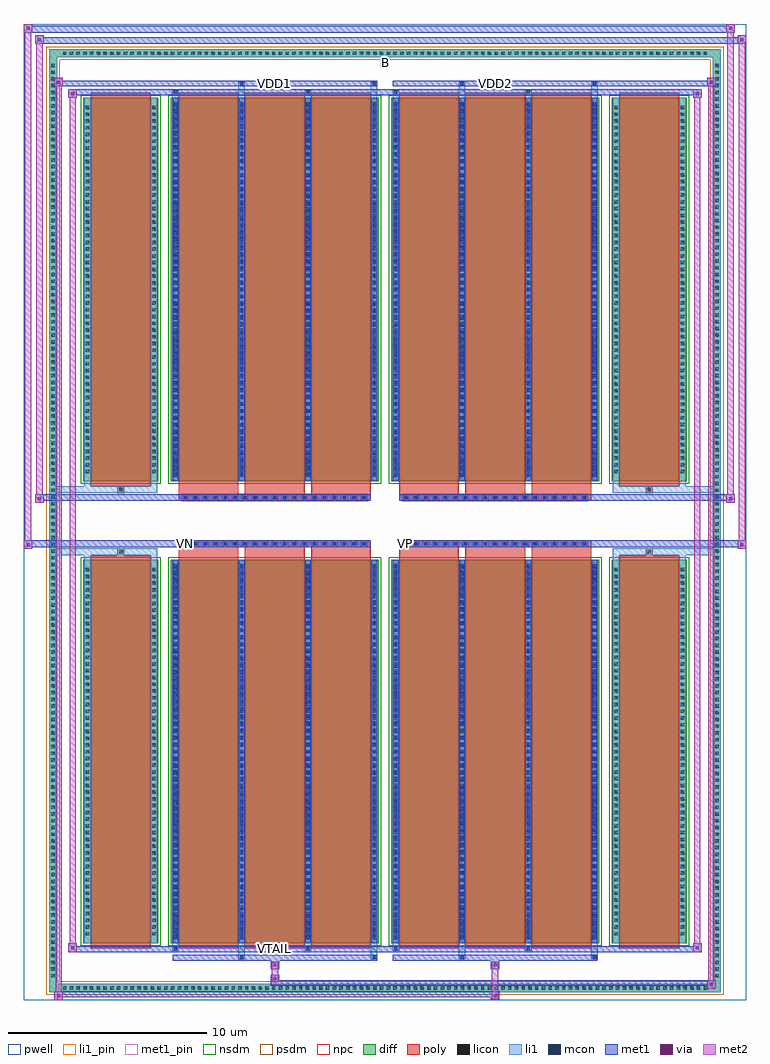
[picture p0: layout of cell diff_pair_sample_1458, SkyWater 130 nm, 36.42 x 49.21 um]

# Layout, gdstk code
import gdstk
lib = gdstk.Library(unit=1e-6, precision=5e-09)
def R(c, l, rs):  # rectangles x0, y0, x1, y1
    for r in rs: c.add(gdstk.rectangle(r[:2], r[2:], *l))
def A(c, l, x, y, w, h, nx, ny, dx, dy):  # array of equal rectangles
    R(c, l, [(x+i*dx, y+j*dy, x+i*dx+w, y+j*dy+h) for i in range(nx) for j in range(ny)])
def P(c, l, *ps):  # polygons
    for p in ps: c.add(gdstk.Polygon(p, *l))
pwell = (64, 44)
diff = (65, 20)
poly = (66, 20)
licon = (66, 44)
li1_pin = (67, 16)
li1 = (67, 20)
mcon = (67, 44)
met1_pin = (68, 16)
met1 = (68, 20)
via = (68, 44)
met2 = (69, 20)
nsdm = (93, 44)
psdm = (94, 20)
npc = (95, 20)

diff_pair_sample_1458 = lib.new_cell('diff_pair_sample_1458')
R(diff_pair_sample_1458, pwell, [(-18.21,-24.17,18.21,25.04), (-15.53,-22.36,-0.01,-0.8), (0.01,-22.36,15.53,-0.8), (-15.53,0.8,-0.01,22.36), (0.01,0.8,15.53,22.36)])
A(diff_pair_sample_1458, diff, -16.355, -23.77, 0.41, 0.41, 96, 2, 0.34, 47.13)
A(diff_pair_sample_1458, diff, -16.94, -23.155, 0.41, 0.41, 1, 136, 0, 0.34)
A(diff_pair_sample_1458, diff, 16.53, -23.155, 0.41, 0.41, 1, 136, 0, 0.34)
R(diff_pair_sample_1458, diff, [(-16.355,-23.77,16.355,-23.36), (-16.94,-23.155,-16.53,23.155), (16.53,-23.155,16.94,23.155), (-15.22,-21.315,-11.43,-1.985), (-10.79,-21.315,-0.32,-1.985), (0.32,-21.315,10.79,-1.985), (11.43,-21.315,15.22,-1.985), (-15.22,1.985,-11.43,21.315), (-10.79,1.985,-0.32,21.315), (0.32,1.985,10.79,21.315), (11.43,1.985,15.22,21.315), (-16.355,23.36,16.355,23.77)])
P(diff_pair_sample_1458, diff, [(16.94,23.77),(-16.94,23.77),(-16.94,-23.36),(-16.53,-23.36),(-16.53,23.36),(16.53,23.36),(16.53,-23.36),(-16.53,-23.36),(-16.94,-23.36),(-16.94,-23.77),(16.94,-23.77)])
A(diff_pair_sample_1458, poly, -10.4, -21.565, 3.01, 19.83, 3, 2, 3.34, 23.3)
A(diff_pair_sample_1458, poly, 0.71, -21.565, 3.01, 19.83, 3, 2, 3.34, 23.3)
A(diff_pair_sample_1458, poly, -10.4, -1.735, 3.01, 0.405, 3, 2, 3.34, 3.065)
A(diff_pair_sample_1458, poly, 0.71, -1.735, 3.01, 0.405, 3, 2, 3.34, 3.065)
A(diff_pair_sample_1458, poly, -10.22, -1.33, 0.33, 0.33, 19, 2, 0.5, 2.33)
A(diff_pair_sample_1458, poly, 0.89, -1.33, 0.33, 0.33, 19, 2, 0.5, 2.33)
R(diff_pair_sample_1458, poly, [(-14.83,-21.565,-11.82,-1.735), (11.82,-21.565,14.83,-1.735), (-13.49,-1.735,-13.16,-1.405), (-13.49,-1.735,-13.16,-1.405), (13.16,-1.735,13.49,-1.405), (13.16,-1.735,13.49,-1.405), (-10.4,-1.33,-0.71,-1), (0.71,-1.33,10.4,-1), (-10.4,1,-0.71,1.33), (0.71,1,10.4,1.33), (-13.49,1.405,-13.16,1.735), (-13.49,1.405,-13.16,1.735), (13.16,1.405,13.49,1.735), (13.16,1.405,13.49,1.735), (-14.83,1.735,-11.82,21.565), (11.82,1.735,14.83,21.565)])
A(diff_pair_sample_1458, licon, -16.235, -23.65, 0.17, 0.17, 96, 2, 0.34, 47.13)
A(diff_pair_sample_1458, licon, -16.82, -23.035, 0.17, 0.17, 1, 136, 0, 0.34)
A(diff_pair_sample_1458, licon, 16.65, -23.035, 0.17, 0.17, 1, 136, 0, 0.34)
A(diff_pair_sample_1458, licon, -15.08, -20.915, 0.17, 0.17, 1, 55, 0, 0.34)
A(diff_pair_sample_1458, licon, -11.74, -20.915, 0.17, 0.17, 1, 55, 0, 0.34)
A(diff_pair_sample_1458, licon, -10.65, -20.915, 0.17, 0.17, 4, 55, 3.34, 0.34)
A(diff_pair_sample_1458, licon, 0.46, -20.915, 0.17, 0.17, 4, 55, 3.34, 0.34)
A(diff_pair_sample_1458, licon, 11.57, -20.915, 0.17, 0.17, 1, 55, 0, 0.34)
A(diff_pair_sample_1458, licon, 14.91, -20.915, 0.17, 0.17, 1, 55, 0, 0.34)
A(diff_pair_sample_1458, licon, -10.14, -1.25, 0.17, 0.17, 19, 2, 0.5, 2.33)
A(diff_pair_sample_1458, licon, 0.97, -1.25, 0.17, 0.17, 19, 2, 0.5, 2.33)
A(diff_pair_sample_1458, licon, -15.08, 2.385, 0.17, 0.17, 1, 55, 0, 0.34)
A(diff_pair_sample_1458, licon, -11.74, 2.385, 0.17, 0.17, 1, 55, 0, 0.34)
A(diff_pair_sample_1458, licon, -10.65, 2.385, 0.17, 0.17, 4, 55, 3.34, 0.34)
A(diff_pair_sample_1458, licon, 0.46, 2.385, 0.17, 0.17, 4, 55, 3.34, 0.34)
A(diff_pair_sample_1458, licon, 11.57, 2.385, 0.17, 0.17, 1, 55, 0, 0.34)
A(diff_pair_sample_1458, licon, 14.91, 2.385, 0.17, 0.17, 1, 55, 0, 0.34)
R(diff_pair_sample_1458, licon, [(-13.41,-1.655,-13.24,-1.485), (13.24,-1.655,13.41,-1.485), (-13.41,1.485,-13.24,1.655), (13.24,1.485,13.41,1.655)])
R(diff_pair_sample_1458, li1_pin, [(-0.25,22.86,0.25,23.36)])
A(diff_pair_sample_1458, li1, -16.315, -23.73, 0.33, 0.33, 96, 2, 0.34, 47.13)
A(diff_pair_sample_1458, li1, -16.9, -23.115, 0.33, 0.33, 1, 136, 0, 0.34)
A(diff_pair_sample_1458, li1, 16.57, -23.115, 0.33, 0.33, 1, 136, 0, 0.34)
A(diff_pair_sample_1458, li1, -10.73, -21.315, 0.33, 19.33, 4, 2, 3.34, 23.3)
A(diff_pair_sample_1458, li1, 0.38, -21.315, 0.33, 19.33, 4, 2, 3.34, 23.3)
A(diff_pair_sample_1458, li1, -10.65, -21.095, 0.17, 0.17, 4, 53, 3.34, 0.36)
A(diff_pair_sample_1458, li1, -10.65, -21.095, 0.17, 18.89, 4, 2, 3.34, 23.3)
A(diff_pair_sample_1458, li1, 0.46, -21.095, 0.17, 0.17, 4, 53, 3.34, 0.36)
A(diff_pair_sample_1458, li1, 0.46, -21.095, 0.17, 18.89, 4, 2, 3.34, 23.3)
A(diff_pair_sample_1458, li1, -15.16, -20.995, 0.33, 0.33, 1, 55, 0, 0.34)
A(diff_pair_sample_1458, li1, -11.82, -20.995, 0.33, 0.33, 1, 55, 0, 0.34)
A(diff_pair_sample_1458, li1, -10.73, -20.995, 0.33, 0.33, 4, 55, 3.34, 0.34)
A(diff_pair_sample_1458, li1, 0.38, -20.995, 0.33, 0.33, 4, 55, 3.34, 0.34)
A(diff_pair_sample_1458, li1, 11.49, -20.995, 0.33, 0.33, 1, 55, 0, 0.34)
A(diff_pair_sample_1458, li1, 14.83, -20.995, 0.33, 0.33, 1, 55, 0, 0.34)
A(diff_pair_sample_1458, li1, -10.22, -1.33, 0.33, 0.33, 19, 2, 0.5, 2.33)
A(diff_pair_sample_1458, li1, 0.89, -1.33, 0.33, 0.33, 19, 2, 0.5, 2.33)
A(diff_pair_sample_1458, li1, -10.65, 2.205, 0.17, 0.17, 4, 53, 3.34, 0.36)
A(diff_pair_sample_1458, li1, 0.46, 2.205, 0.17, 0.17, 4, 53, 3.34, 0.36)
A(diff_pair_sample_1458, li1, -15.16, 2.305, 0.33, 0.33, 1, 55, 0, 0.34)
A(diff_pair_sample_1458, li1, -11.82, 2.305, 0.33, 0.33, 1, 55, 0, 0.34)
A(diff_pair_sample_1458, li1, -10.73, 2.305, 0.33, 0.33, 4, 55, 3.34, 0.34)
A(diff_pair_sample_1458, li1, 0.38, 2.305, 0.33, 0.33, 4, 55, 3.34, 0.34)
A(diff_pair_sample_1458, li1, 11.49, 2.305, 0.33, 0.33, 1, 55, 0, 0.34)
A(diff_pair_sample_1458, li1, 14.83, 2.305, 0.33, 0.33, 1, 55, 0, 0.34)
R(diff_pair_sample_1458, li1, [(-16.94,-23.77,-16.53,-23.36), (-16.94,-23.77,-16.53,-23.36), (-16.53,-23.77,16.53,-23.36), (16.53,-23.77,16.94,-23.36), (16.53,-23.77,16.94,-23.36), (-16.94,-23.36,-16.53,23.36), (16.53,-23.36,16.94,23.36), (-7.39,-22.12,-7.06,-21.315), (-7.31,-22.12,-7.14,-21.95), (-0.71,-22.12,-0.38,-21.315), (-0.63,-22.12,-0.46,-21.95), (3.72,-22.12,4.05,-21.315), (3.8,-22.12,3.97,-21.95), (10.4,-22.12,10.73,-21.315), (10.48,-22.12,10.65,-21.95), (-10.73,-21.69,-10.4,-21.315), (-10.65,-21.69,-10.48,-21.52), (-4.05,-21.69,-3.72,-21.315), (-3.97,-21.69,-3.8,-21.52), (0.38,-21.69,0.71,-21.315), (0.46,-21.69,0.63,-21.52), (7.06,-21.69,7.39,-21.315), (7.14,-21.69,7.31,-21.52), (-15.16,-21.315,-14.83,-1.985), (-11.82,-21.315,-11.49,-1.985), (11.49,-21.315,11.82,-1.985), (14.83,-21.315,15.16,-1.985), (-15.16,-1.985,-14.83,-1.405), (-11.82,-1.985,-11.49,-1.405), (11.49,-1.985,11.82,-1.405), (14.83,-1.985,15.16,-1.405), (-16.94,-1.735,-13.49,-1.405), (-15.16,-1.735,-13.49,-1.405), (-13.49,-1.735,-13.16,-1.405), (-13.16,-1.735,-11.49,-1.405), (11.49,-1.735,13.16,-1.405), (13.16,-1.735,13.49,-1.405), (13.16,-1.735,16.94,-1.405), (13.49,-1.735,15.16,-1.405), (-16.94,1.405,-13.49,1.735), (-15.16,1.405,-13.49,1.735), (-15.16,1.405,-14.83,1.985), (-13.49,1.405,-13.16,1.735), (-13.16,1.405,-11.49,1.735), (-11.82,1.405,-11.49,1.985), (11.49,1.405,13.16,1.735), (11.49,1.405,11.82,1.985), (13.16,1.405,13.49,1.735), (13.16,1.405,16.94,1.735), (13.49,1.405,15.16,1.735), (14.83,1.405,15.16,1.985), (-15.16,1.985,-14.83,21.315), (-11.82,1.985,-11.49,21.315), (11.49,1.985,11.82,21.315), (14.83,1.985,15.16,21.315), (-10.73,21.315,-10.4,21.69), (-7.39,21.315,-7.06,22.12), (-4.05,21.315,-3.72,21.69), (-0.71,21.315,-0.38,22.12), (0.38,21.315,0.71,21.69), (3.72,21.315,4.05,22.12), (7.06,21.315,7.39,21.69), (10.4,21.315,10.73,22.12), (-10.65,21.52,-10.48,21.69), (-3.97,21.52,-3.8,21.69), (0.46,21.52,0.63,21.69), (7.14,21.52,7.31,21.69), (-7.31,21.95,-7.14,22.12), (-0.63,21.95,-0.46,22.12), (3.8,21.95,3.97,22.12), (10.48,21.95,10.65,22.12), (-16.94,23.36,-16.53,23.77), (-16.94,23.36,-16.53,23.77), (-16.53,23.36,16.53,23.77), (16.53,23.36,16.94,23.77), (16.53,23.36,16.94,23.77)])
A(diff_pair_sample_1458, mcon, -10.65, -21.095, 0.17, 0.17, 4, 53, 3.34, 0.36)
A(diff_pair_sample_1458, mcon, 0.46, -21.095, 0.17, 0.17, 4, 53, 3.34, 0.36)
A(diff_pair_sample_1458, mcon, -10.14, -1.25, 0.17, 0.17, 19, 2, 0.5, 2.33)
A(diff_pair_sample_1458, mcon, 0.97, -1.25, 0.17, 0.17, 19, 2, 0.5, 2.33)
A(diff_pair_sample_1458, mcon, -10.65, 2.205, 0.17, 0.17, 4, 53, 3.34, 0.36)
A(diff_pair_sample_1458, mcon, 0.46, 2.205, 0.17, 0.17, 4, 53, 3.34, 0.36)
R(diff_pair_sample_1458, mcon, [(-7.31,-22.12,-7.14,-21.95), (-0.63,-22.12,-0.46,-21.95), (3.8,-22.12,3.97,-21.95), (10.48,-22.12,10.65,-21.95), (-10.65,-21.69,-10.48,-21.52), (-3.97,-21.69,-3.8,-21.52), (0.46,-21.69,0.63,-21.52), (7.14,-21.69,7.31,-21.52), (-10.65,21.52,-10.48,21.69), (-3.97,21.52,-3.8,21.69), (0.46,21.52,0.63,21.69), (7.14,21.52,7.31,21.69), (-7.31,21.95,-7.14,22.12), (-0.63,21.95,-0.46,22.12), (3.8,21.95,3.97,22.12), (10.48,21.95,10.65,22.12)])
R(diff_pair_sample_1458, met1_pin, [(-5.69,-21.73,-5.42,-21.46), (-10.19,-1.29,-9.92,-1.02), (0.92,-1.29,1.19,-1.02), (-5.69,21.91,-5.42,22.18), (5.42,21.91,5.69,22.18)])
A(diff_pair_sample_1458, met1, -10.71, -21.315, 0.29, 19.33, 4, 2, 3.34, 23.3)
A(diff_pair_sample_1458, met1, 0.4, -21.315, 0.29, 19.33, 4, 2, 3.34, 23.3)
A(diff_pair_sample_1458, met1, -10.71, -21.155, 0.29, 0.29, 4, 53, 3.34, 0.36)
A(diff_pair_sample_1458, met1, 0.4, -21.155, 0.29, 0.29, 4, 53, 3.34, 0.36)
A(diff_pair_sample_1458, met1, -10.2, -1.31, 0.29, 0.29, 19, 2, 0.5, 2.33)
A(diff_pair_sample_1458, met1, 0.91, -1.31, 0.29, 0.29, 19, 2, 0.5, 2.33)
A(diff_pair_sample_1458, met1, -10.71, 2.145, 0.29, 0.29, 4, 53, 3.34, 0.36)
A(diff_pair_sample_1458, met1, 0.4, 2.145, 0.29, 0.29, 4, 53, 3.34, 0.36)
R(diff_pair_sample_1458, met1, [(-16.67,-24.17,-16.24,-23.74), (5.34,-24.17,5.77,-23.74), (-16.67,-24.03,5.77,-23.74), (16.24,-23.6,16.67,-23.17), (-5.77,-23.46,16.67,-23.17), (-5.77,-23.32,-5.34,-22.89), (-5.77,-22.61,-5.34,-22.18), (5.34,-22.61,5.77,-22.18), (-10.71,-22.18,-0.4,-21.89), (-7.37,-22.18,-7.08,-21.89), (-0.69,-22.18,-0.4,-21.89), (0.4,-22.18,10.71,-21.89), (3.74,-22.18,4.03,-21.89), (10.42,-22.18,10.71,-21.89), (-15.96,-21.75,-15.53,-21.32), (-15.96,-21.75,-10.71,-21.46), (-10.71,-21.75,-10.42,-21.46), (-10.71,-21.75,-0.4,-21.46), (-4.03,-21.75,-3.74,-21.46), (-0.4,-21.75,0.4,-21.46), (0.4,-21.75,0.69,-21.46), (0.4,-21.75,10.71,-21.46), (7.08,-21.75,7.37,-21.46), (10.71,-21.75,15.96,-21.46), (15.53,-21.75,15.96,-21.32), (-18.21,-1.43,-17.78,-1), (17.78,-1.43,18.21,-1), (-18.21,-1.33,-0.71,-1), (-10.4,-1.33,-0.71,-1), (0.71,-1.33,10.4,-1), (0.71,-1.33,18.21,-1), (-17.64,0.9,-17.21,1.33), (17.21,0.9,17.64,1.33), (-17.64,1,-10.4,1.33), (-10.4,1,-0.71,1.33), (0.71,1,10.4,1.33), (10.4,1,17.64,1.33), (-15.96,21.32,-15.53,21.75), (15.53,21.32,15.96,21.75), (-15.96,21.46,-10.71,21.75), (-10.71,21.46,-10.42,21.75), (-10.71,21.46,-0.4,21.75), (-4.03,21.46,-3.74,21.75), (-0.4,21.46,0.4,21.75), (0.4,21.46,0.69,21.75), (0.4,21.46,10.71,21.75), (7.08,21.46,7.37,21.75), (10.71,21.46,15.96,21.75), (-16.67,21.89,-16.24,22.32), (-16.67,21.89,-10.71,22.18), (-10.71,21.89,-0.4,22.18), (-7.37,21.89,-7.08,22.18), (-0.69,21.89,-0.4,22.18), (0.4,21.89,10.71,22.18), (3.74,21.89,4.03,22.18), (10.42,21.89,10.71,22.18), (10.71,21.89,16.67,22.18), (16.24,21.89,16.67,22.32), (-17.64,24.04,-17.21,24.47), (-17.64,24.04,-15.53,24.37), (-15.53,24.04,15.53,24.37), (15.53,24.04,18.21,24.37), (17.78,24.04,18.21,24.47), (-18.21,24.61,-17.78,25.04), (-18.21,24.61,-15.53,24.94), (-15.53,24.61,15.53,24.94), (15.53,24.61,17.64,24.94), (17.21,24.61,17.64,25.04)])
R(diff_pair_sample_1458, via, [(-16.53,-24.03,-16.38,-23.88), (5.48,-24.03,5.63,-23.88), (16.38,-23.46,16.53,-23.31), (-5.63,-23.18,-5.48,-23.03), (-5.63,-22.47,-5.48,-22.32), (5.48,-22.47,5.63,-22.32), (-15.82,-21.61,-15.67,-21.46), (15.67,-21.61,15.82,-21.46), (-18.07,-1.29,-17.92,-1.14), (17.92,-1.29,18.07,-1.14), (-17.5,1.04,-17.35,1.19), (17.35,1.04,17.5,1.19), (-15.82,21.46,-15.67,21.61), (15.67,21.46,15.82,21.61), (-16.53,22.03,-16.38,22.18), (16.38,22.03,16.53,22.18), (-17.5,24.18,-17.35,24.33), (17.92,24.18,18.07,24.33), (-18.07,24.75,-17.92,24.9), (17.35,24.75,17.5,24.9)])
R(diff_pair_sample_1458, met2, [(-16.67,-24.17,-16.24,-23.74), (-16.6,-24.17,-16.31,22.32), (-16.31,-24.17,-16.24,-23.74), (-16.62,-24.12,-16.29,-23.79), (5.39,-24.12,5.72,-23.79), (5.39,-23.79,5.72,-22.56), (16.24,-23.6,16.67,-23.17), (16.31,-23.6,16.6,22.32), (16.6,-23.6,16.67,-23.17), (16.29,-23.55,16.62,-23.22), (-5.72,-23.27,-5.39,-22.94), (-5.72,-22.94,-5.39,-22.56), (-5.72,-22.56,-5.39,-22.23), (5.39,-22.56,5.72,-22.23), (-15.96,-21.75,-15.53,-21.32), (-15.89,-21.75,-15.6,21.75), (-15.6,-21.75,-15.53,-21.32), (15.53,-21.75,15.96,-21.32), (15.6,-21.75,15.89,21.75), (15.89,-21.75,15.96,-21.32), (-15.91,-21.7,-15.58,-21.37), (15.58,-21.7,15.91,-21.37), (-18.21,-1.43,-17.78,-1), (-18.16,-1.43,-17.83,25.04), (-17.83,-1.43,-17.78,-1), (17.78,-1.43,18.21,-1), (17.83,-1.43,18.16,24.47), (18.16,-1.43,18.21,-1), (-18.16,-1.38,-17.83,-1.05), (17.83,-1.38,18.16,-1.05), (-17.64,0.9,-17.21,1.33), (-17.59,0.9,-17.26,24.47), (-17.26,0.9,-17.21,1.33), (17.21,0.9,17.64,1.33), (17.26,0.9,17.59,25.04), (17.59,0.9,17.64,1.33), (-17.59,0.95,-17.26,1.28), (17.26,0.95,17.59,1.28), (-15.96,21.32,-15.53,21.75), (-15.6,21.32,-15.53,21.75), (15.53,21.32,15.96,21.75), (15.89,21.32,15.96,21.75), (-15.91,21.37,-15.58,21.7), (15.58,21.37,15.91,21.7), (-16.67,21.89,-16.24,22.32), (-16.31,21.89,-16.24,22.32), (16.24,21.89,16.67,22.32), (16.6,21.89,16.67,22.32), (-16.62,21.94,-16.29,22.27), (16.29,21.94,16.62,22.27), (-17.64,24.04,-17.21,24.47), (-17.26,24.04,-17.21,24.47), (17.78,24.04,18.21,24.47), (18.16,24.04,18.21,24.47), (-17.59,24.09,-17.26,24.42), (17.83,24.09,18.16,24.42), (-18.21,24.61,-17.78,25.04), (-17.83,24.61,-17.78,25.04), (17.21,24.61,17.64,25.04), (17.59,24.61,17.64,25.04), (-18.16,24.66,-17.83,24.99), (17.26,24.66,17.59,24.99)])
R(diff_pair_sample_1458, nsdm, [(-15.35,-21.445,-11.3,-1.855), (-10.92,-21.445,-0.19,-1.855), (0.19,-21.445,10.92,-1.855), (11.3,-21.445,15.35,-1.855), (-15.35,1.855,-11.3,21.445), (-10.92,1.855,-0.19,21.445), (0.19,1.855,10.92,21.445), (11.3,1.855,15.35,21.445)])
P(diff_pair_sample_1458, psdm, [(17.07,23.9),(-17.07,23.9),(-17.07,-23.23),(-16.4,-23.23),(-16.4,23.23),(16.4,23.23),(16.4,-23.23),(-16.4,-23.23),(-17.07,-23.23),(-17.07,-23.9),(17.07,-23.9)])
A(diff_pair_sample_1458, npc, -10.24, -1.35, 0.37, 0.37, 19, 2, 0.5, 2.33)
A(diff_pair_sample_1458, npc, 0.87, -1.35, 0.37, 0.37, 19, 2, 0.5, 2.33)
R(diff_pair_sample_1458, npc, [(-13.51,-1.755,-13.14,-1.385), (13.14,-1.755,13.51,-1.385), (-10.24,-1.35,-9.37,-0.98), (-10.24,-1.35,-9.37,-0.98), (-9.74,-1.35,-8.87,-0.98), (-9.74,-1.35,-8.87,-0.98), (-9.24,-1.35,-8.37,-0.98), (-9.24,-1.35,-8.37,-0.98), (-8.74,-1.35,-7.87,-0.98), (-8.74,-1.35,-7.87,-0.98), (-8.24,-1.35,-7.37,-0.98), (-8.24,-1.35,-7.37,-0.98), (-7.74,-1.35,-6.87,-0.98), (-7.74,-1.35,-6.87,-0.98), (-7.24,-1.35,-6.37,-0.98), (-7.24,-1.35,-6.37,-0.98), (-6.74,-1.35,-5.87,-0.98), (-6.74,-1.35,-5.87,-0.98), (-6.24,-1.35,-5.37,-0.98), (-6.24,-1.35,-5.37,-0.98), (-5.74,-1.35,-4.87,-0.98), (-5.74,-1.35,-4.87,-0.98), (-5.24,-1.35,-4.37,-0.98), (-5.24,-1.35,-4.37,-0.98), (-4.74,-1.35,-3.87,-0.98), (-4.74,-1.35,-3.87,-0.98), (-4.24,-1.35,-3.37,-0.98), (-4.24,-1.35,-3.37,-0.98), (-3.74,-1.35,-2.87,-0.98), (-3.74,-1.35,-2.87,-0.98), (-3.24,-1.35,-2.37,-0.98), (-3.24,-1.35,-2.37,-0.98), (-2.74,-1.35,-1.87,-0.98), (-2.74,-1.35,-1.87,-0.98), (-2.24,-1.35,-1.37,-0.98), (-2.24,-1.35,-1.37,-0.98), (-1.74,-1.35,-0.87,-0.98), (-1.74,-1.35,-0.87,-0.98), (0.87,-1.35,1.74,-0.98), (0.87,-1.35,1.74,-0.98), (1.37,-1.35,2.24,-0.98), (1.37,-1.35,2.24,-0.98), (1.87,-1.35,2.74,-0.98), (1.87,-1.35,2.74,-0.98), (2.37,-1.35,3.24,-0.98), (2.37,-1.35,3.24,-0.98), (2.87,-1.35,3.74,-0.98), (2.87,-1.35,3.74,-0.98), (3.37,-1.35,4.24,-0.98), (3.37,-1.35,4.24,-0.98), (3.87,-1.35,4.74,-0.98), (3.87,-1.35,4.74,-0.98), (4.37,-1.35,5.24,-0.98), (4.37,-1.35,5.24,-0.98), (4.87,-1.35,5.74,-0.98), (4.87,-1.35,5.74,-0.98), (5.37,-1.35,6.24,-0.98), (5.37,-1.35,6.24,-0.98), (5.87,-1.35,6.74,-0.98), (5.87,-1.35,6.74,-0.98), (6.37,-1.35,7.24,-0.98), (6.37,-1.35,7.24,-0.98), (6.87,-1.35,7.74,-0.98), (6.87,-1.35,7.74,-0.98), (7.37,-1.35,8.24,-0.98), (7.37,-1.35,8.24,-0.98), (7.87,-1.35,8.74,-0.98), (7.87,-1.35,8.74,-0.98), (8.37,-1.35,9.24,-0.98), (8.37,-1.35,9.24,-0.98), (8.87,-1.35,9.74,-0.98), (8.87,-1.35,9.74,-0.98), (9.37,-1.35,10.24,-0.98), (9.37,-1.35,10.24,-0.98), (-10.24,0.98,-9.37,1.35), (-10.24,0.98,-9.37,1.35), (-9.74,0.98,-8.87,1.35), (-9.74,0.98,-8.87,1.35), (-9.24,0.98,-8.37,1.35), (-9.24,0.98,-8.37,1.35), (-8.74,0.98,-7.87,1.35), (-8.74,0.98,-7.87,1.35), (-8.24,0.98,-7.37,1.35), (-8.24,0.98,-7.37,1.35), (-7.74,0.98,-6.87,1.35), (-7.74,0.98,-6.87,1.35), (-7.24,0.98,-6.37,1.35), (-7.24,0.98,-6.37,1.35), (-6.74,0.98,-5.87,1.35), (-6.74,0.98,-5.87,1.35), (-6.24,0.98,-5.37,1.35), (-6.24,0.98,-5.37,1.35), (-5.74,0.98,-4.87,1.35), (-5.74,0.98,-4.87,1.35), (-5.24,0.98,-4.37,1.35), (-5.24,0.98,-4.37,1.35), (-4.74,0.98,-3.87,1.35), (-4.74,0.98,-3.87,1.35), (-4.24,0.98,-3.37,1.35), (-4.24,0.98,-3.37,1.35), (-3.74,0.98,-2.87,1.35), (-3.74,0.98,-2.87,1.35), (-3.24,0.98,-2.37,1.35), (-3.24,0.98,-2.37,1.35), (-2.74,0.98,-1.87,1.35), (-2.74,0.98,-1.87,1.35), (-2.24,0.98,-1.37,1.35), (-2.24,0.98,-1.37,1.35), (-1.74,0.98,-0.87,1.35), (-1.74,0.98,-0.87,1.35), (0.87,0.98,1.74,1.35), (0.87,0.98,1.74,1.35), (1.37,0.98,2.24,1.35), (1.37,0.98,2.24,1.35), (1.87,0.98,2.74,1.35), (1.87,0.98,2.74,1.35), (2.37,0.98,3.24,1.35), (2.37,0.98,3.24,1.35), (2.87,0.98,3.74,1.35), (2.87,0.98,3.74,1.35), (3.37,0.98,4.24,1.35), (3.37,0.98,4.24,1.35), (3.87,0.98,4.74,1.35), (3.87,0.98,4.74,1.35), (4.37,0.98,5.24,1.35), (4.37,0.98,5.24,1.35), (4.87,0.98,5.74,1.35), (4.87,0.98,5.74,1.35), (5.37,0.98,6.24,1.35), (5.37,0.98,6.24,1.35), (5.87,0.98,6.74,1.35), (5.87,0.98,6.74,1.35), (6.37,0.98,7.24,1.35), (6.37,0.98,7.24,1.35), (6.87,0.98,7.74,1.35), (6.87,0.98,7.74,1.35), (7.37,0.98,8.24,1.35), (7.37,0.98,8.24,1.35), (7.87,0.98,8.74,1.35), (7.87,0.98,8.74,1.35), (8.37,0.98,9.24,1.35), (8.37,0.98,9.24,1.35), (8.87,0.98,9.74,1.35), (8.87,0.98,9.74,1.35), (9.37,0.98,10.24,1.35), (9.37,0.98,10.24,1.35), (-13.51,1.385,-13.14,1.755), (13.14,1.385,13.51,1.755)])
diff_pair_sample_1458.add(gdstk.Label('VTAIL', (-5.555,-21.595), layer=68, texttype=5))
diff_pair_sample_1458.add(gdstk.Label('VN', (-10.055,-1.155), layer=68, texttype=5))
diff_pair_sample_1458.add(gdstk.Label('VP', (1.055,-1.155), layer=68, texttype=5))
diff_pair_sample_1458.add(gdstk.Label('B', (0,23.11), layer=67, texttype=5))
diff_pair_sample_1458.add(gdstk.Label('VDD2', (5.555,22.045), layer=68, texttype=5))
diff_pair_sample_1458.add(gdstk.Label('VDD1', (-5.555,22.045), layer=68, texttype=5))

lib.write_gds('diff_pair_sample_1458.gds')
